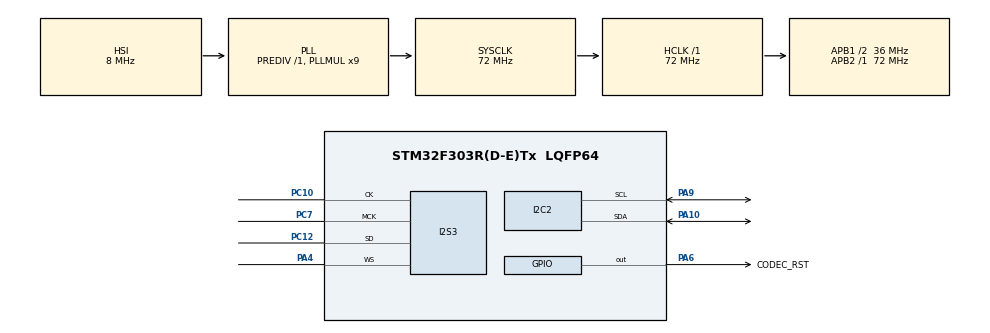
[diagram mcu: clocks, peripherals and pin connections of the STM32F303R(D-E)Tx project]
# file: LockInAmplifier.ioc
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Dma.Request0=SPI3_RX
Dma.SPI3_RX.0.Direction=DMA_PERIPH_TO_MEMORY
Dma.SPI3_RX.0.Instance=DMA2_Channel1
Dma.SPI3_RX.0.MemDataAlignment=DMA_MDATAALIGN_HALFWORD
Dma.SPI3_RX.0.MemInc=DMA_MINC_ENABLE
Dma.SPI3_RX.0.Mode=DMA_NORMAL
Dma.SPI3_RX.0.PeriphDataAlignment=DMA_PDATAALIGN_HALFWORD
Dma.SPI3_RX.0.PeriphInc=DMA_PINC_DISABLE
Dma.SPI3_RX.0.Priority=DMA_PRIORITY_LOW
I2S3.DataFormat=I2S_DATAFORMAT_16B_EXTENDED
I2S3.ErrorAudioFreq=0.43 %
I2S3.FullDuplexMode=I2S_FULLDUPLEXMODE_DISABLE
I2S3.Instance=SPI$Index
I2S3.MCLKOutput=I2S_MCLKOUTPUT_ENABLE
I2S3.Mode=I2S_MODE_MASTER_RX
I2S3.RealAudioFreq=8.035 KHz
I2S3.VirtualMode=I2S_MODE_MASTER
Mcu.Family=STM32F3
Mcu.Name=STM32F303R(D-E)Tx
Mcu.Package=LQFP64
NVIC.DMA2_Channel1_IRQn=true\:0\:0\:false\:false\:true\:false\:true\:true
NVIC.I2C2_ER_IRQn=true\:0\:0\:false\:false\:true\:true\:true\:true
NVIC.PriorityGroup=NVIC_PRIORITYGROUP_0
PA10.Mode=I2C
PA10.Signal=I2C2_SDA
PA13.Mode=Serial_Wire
PA13.Signal=SYS_JTMS-SWDIO
PA14.Mode=Serial_Wire
PA14.Signal=SYS_JTCK-SWCLK
PA4.Mode=Half_Duplex_Master
PA4.Signal=I2S3_WS
PA6.GPIO_Label=CODEC_RST
PA6.Signal=GPIO_Output
PA9.Mode=I2C
PA9.Signal=I2C2_SCL
PC10.Mode=Half_Duplex_Master
PC10.Signal=I2S3_CK
PC12.Mode=Half_Duplex_Master
PC12.Signal=I2S3_SD
PC7.Mode=Master_Clock_Activated
PC7.Signal=I2S3_MCK
PF0-OSC_IN.Mode=HSE-External-Oscillator
PF0-OSC_IN.Signal=RCC_OSC_IN
PF1-OSC_OUT.Mode=HSE-External-Oscillator
PF1-OSC_OUT.Signal=RCC_OSC_OUT
ProjectManager.HeapSize=0x200
ProjectManager.StackSize=0x400
ProjectManager.TargetToolchain=STM32CubeIDE
RCC.AHBFreq_Value=72000000
RCC.APB1CLKDivider=RCC_HCLK_DIV2
RCC.APB1Freq_Value=36000000
RCC.APB1TimFreq_Value=72000000
RCC.APB2Freq_Value=72000000
RCC.APB2TimFreq_Value=72000000
RCC.CortexFreq_Value=72000000
RCC.HCLKFreq_Value=72000000
RCC.HSE_VALUE=8000000
RCC.HSI_VALUE=8000000
RCC.LSE_VALUE=32768
RCC.PLLM=8
RCC.PLLMUL=RCC_PLL_MUL9
RCC.PLLN=336
RCC.PLLP=RCC_PLLP_DIV4
RCC.PLLQ=7
RCC.RCC_PLLsource_Clock_Source_FROM_HSE=RCC_HSE_PREDIV_DIV2
RCC.SYSCLKFreq_VALUE=72000000
RCC.SYSCLKSourceVirtual=RCC_SYSCLKSOURCE_PLLCLK
RCC.USBFreq_Value=72000000
STMicroelectronics.X-CUBE-ALGOBUILD.1.3.0.LibraryCcDSPOoLibraryJjDSPOoLibrary=true
VP_STMicroelectronics.X-CUBE-ALGOBUILD_VS_DSPOoLibraryJjLibrary_1.3.0_1.3.0.Mode=DSPOoLibraryJjLibrary
board=NUCLEO-F303RE

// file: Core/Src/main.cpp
/* USER CODE BEGIN Header */
/**
  ******************************************************************************
  * @file           : main.c
  * @brief          : Main program body
  ******************************************************************************
  * @attention
  *
  * Copyright (c) 2024 STMicroelectronics.
  * All rights reserved.
  *
  * This software is licensed under terms that can be found in the LICENSE file
  * in the root directory of this software component.
  * If no LICENSE file comes with this software, it is provided AS-IS.
  *
  ******************************************************************************
  */
/* USER CODE END Header */
#include "main.h"

/* USER CODE BEGIN Includes */
#include "CS42448.hpp"
#include "arm_math.h"
using namespace Codec_Controller;
/* USER CODE END Includes */

/* USER CODE BEGIN PD */
#define BUFFER_SIZE 1024
#define BLOCK_SIZE 156
#define NUM_TAPS 156

/* USER CODE END PD */

/* USER CODE BEGIN PM */
Codec_Typedef cs42448;

/* USER CODE END PM */

I2C_HandleTypeDef hi2c2;

I2S_HandleTypeDef hi2s3;
DMA_HandleTypeDef hdma_spi3_rx;

/* USER CODE BEGIN PV */
void MX_CODEC_Init(void){
	cs42448.CHIP_ADDRESS = 0x90;
	cs42448.i2c_port = hi2c2;
	cs42448.Timeout = 500;
	cs42448.Trials = 3;
	cs42448.Codec_Reset_Pin = CODEC_RST_Pin;
	cs42448.Codec_Reset_Pin_Port = CODEC_RST_GPIO_Port;

}
/* USER CODE END PV */

void SystemClock_Config(void);
static void MX_GPIO_Init(void);
static void MX_DMA_Init(void);
static void MX_I2C2_Init(void);
static void MX_I2S3_Init(void);
/* USER CODE BEGIN PFP */
static volatile int16_t codec_buffer[BUFFER_SIZE];
static volatile int16_t codec_buffer_r[BUFFER_SIZE/2];
static volatile int16_t codec_buffer_l[BUFFER_SIZE/2];
static volatile int16_t filter_out_buffer_r[BUFFER_SIZE];
static volatile int16_t filter_out_buffer_l[BUFFER_SIZE];
float32_t filter_in[BUFFER_SIZE];
float32_t filter_out[BUFFER_SIZE];
float32_t *filter_in_ptr = &filter_in[0];
float32_t *filter_out_ptr = &filter_out[0];
float32_t filter_in_2[BUFFER_SIZE];
float32_t filter_out_2[BUFFER_SIZE];
float32_t *filter_in_ptr_2 = &filter_in_2[0];
float32_t *filter_out_ptr_2 = &filter_out_2[0];
__HAL_RCC_FMC_CLK_ENABLE();
FMAC_

static float32_t fir_state[BLOCK_SIZE+NUM_TAPS-1];
const float32_t fir_coeffs[NUM_TAPS] = {
		  0.005172297278269435,
		  0.000691085441073851,
		  0.0007364934661995266,
		  0.0007833330616343696,
		  0.0008314309095881036,
		  0.0008808637704817325,
		  0.0009316054923466316,
		  0.0009836740399602583,
		  0.0010363242611205886,
		  0.0010915080786413332,
		  0.001146186788449287,
		  0.001202676511894471,
		  0.001260670295338245,
		  0.0013191856575960022,
		  0.0013783759848459713,
		  0.0014386953268898611,
		  0.001500174140205052,
		  0.0015623618017705772,
		  0.0016257098567251918,
		  0.0016895218967297539,
		  0.0017540993381709555,
		  0.001819696844582189,
		  0.0018859449512150937,
		  0.0019527127722429394,
		  0.0020201734194449364,
		  0.0020880287178480336,
		  0.002156021361230318,
		  0.0022244012480791006,
		  0.002292908551085153,
		  0.0023613631437434503,
		  0.0024300616718126934,
		  0.00249898064675117,
		  0.0025677443003562536,
		  0.0026367716407843375,
		  0.0027056680356674625,
		  0.002774438396436514,
		  0.0028432981460767624,
		  0.0029119651334827625,
		  0.002979608620910208,
		  0.0030462601965383727,
		  0.00311250553991895,
		  0.0031767976858819375,
		  0.003240818829501474,
		  0.0033044573035579117,
		  0.0033683652561028025,
		  0.003432511201503763,
		  0.003495411788126375,
		  0.003553584320643537,
		  0.0036052604649049577,
		  0.003671888205717174,
		  0.003724257235436093,
		  0.003779411123785605,
		  0.0038327290395655106,
		  0.003884417269345659,
		  0.003934482762558805,
		  0.0039828991347179805,
		  0.004030229139848226,
		  0.004073568994229324,
		  0.004119066886621473,
		  0.004159523352986089,
		  0.004198087205446811,
		  0.004235939370221528,
		  0.0042720361991397705,
		  0.004305569187191348,
		  0.004336534659601636,
		  0.004365447845882646,
		  0.004391866401525129,
		  0.004416855667835182,
		  0.004439469669356571,
		  0.004459605013668342,
		  0.004477598472958103,
		  0.004493190222417955,
		  0.004506177981610728,
		  0.004516867360583609,
		  0.004525397400883775,
		  0.004531380572232312,
		  0.004535116440140057,
		  0.004536449693795746,
		  0.004535116440140057,
		  0.004531380572232312,
		  0.004525397400883775,
		  0.004516867360583609,
		  0.004506177981610728,
		  0.004493190222417955,
		  0.004477598472958103,
		  0.004459605013668342,
		  0.004439469669356571,
		  0.004416855667835182,
		  0.004391866401525129,
		  0.004365447845882646,
		  0.004336534659601636,
		  0.004305569187191348,
		  0.0042720361991397705,
		  0.004235939370221528,
		  0.004198087205446811,
		  0.004159523352986089,
		  0.004119066886621473,
		  0.004073568994229324,
		  0.004030229139848226,
		  0.0039828991347179805,
		  0.003934482762558805,
		  0.003884417269345659,
		  0.0038327290395655106,
		  0.003779411123785605,
		  0.003724257235436093,
		  0.003671888205717174,
		  0.0036052604649049577,
		  0.003553584320643537,
		  0.003495411788126375,
		  0.003432511201503763,
		  0.0033683652561028025,
		  0.0033044573035579117,
		  0.003240818829501474,
		  0.0031767976858819375,
		  0.00311250553991895,
		  0.0030462601965383727,
		  0.002979608620910208,
		  0.0029119651334827625,
		  0.0028432981460767624,
		  0.002774438396436514,
		  0.0027056680356674625,
		  0.0026367716407843375,
		  0.0025677443003562536,
		  0.00249898064675117,
		  0.0024300616718126934,
		  0.0023613631437434503,
		  0.002292908551085153,
		  0.0022244012480791006,
		  0.002156021361230318,
		  0.0020880287178480336,
		  0.0020201734194449364,
		  0.0019527127722429394,
		  0.0018859449512150937,
		  0.001819696844582189,
		  0.0017540993381709555,
		  0.0016895218967297539,
		  0.0016257098567251918,
		  0.0015623618017705772,
		  0.001500174140205052,
		  0.0014386953268898611,
		  0.0013783759848459713,
		  0.0013191856575960022,
		  0.001260670295338245,
		  0.001202676511894471,
		  0.001146186788449287,
		  0.0010915080786413332,
		  0.0010363242611205886,
		  0.0009836740399602583,
		  0.0009316054923466316,
		  0.0008808637704817325,
		  0.0008314309095881036,
		  0.0007833330616343696,
		  0.0007364934661995266,
		  0.000691085441073851,
		  0.005172297278269435
};
uint32_t block_size = BLOCK_SIZE;
uint32_t num_blocks = BUFFER_SIZE / BLOCK_SIZE;
arm_fir_instance_f32 lpf;
unsigned long t1;
unsigned long t2;
unsigned long diff;
/* USER CODE END PFP */

int main(void)
{

  /* MCU Configuration--------------------------------------------------------*/

  /* Reset of all peripherals, Initializes the Flash interface and the Systick. */
  HAL_Init();

  /* Configure the system clock */
  SystemClock_Config();

  /* USER CODE BEGIN SysInit */

	CoreDebug->DEMCR |= CoreDebug_DEMCR_TRCENA_Msk;
	DWT->CYCCNT = 0;
	DWT->CTRL |= DWT_CTRL_CYCCNTENA_Msk;

  /* USER CODE END SysInit */

  /* Initialize all configured peripherals */
  MX_GPIO_Init();
  MX_DMA_Init();
  MX_I2C2_Init();
  MX_I2S3_Init();
  /* USER CODE BEGIN 2 */
  MX_CODEC_Init();
  arm_fir_init_f32(&lpf, NUM_TAPS, (float32_t *)&fir_coeffs[0], &fir_state[0], block_size);

  PowerDownEnable(&cs42448);
  Codec_IsReady(&cs42448);
  SetI2SInterface(&cs42448);
  HandleRegisters(&cs42448,0x04);// Check I2S Interface
  SetADCMode(&cs42448);
  HandleRegisters(&cs42448,0x05);// Check ADC Mode
  PowerDownDisable(&cs42448);
  HAL_I2S_Receive_DMA(&hi2s3, (uint16_t *)codec_buffer, BUFFER_SIZE);

/* USER CODE END 2 */

  /* Infinite loop */
  while (1)
  {

  }
}

void SystemClock_Config(void)
{
  RCC_OscInitTypeDef RCC_OscInitStruct = {0};
  RCC_ClkInitTypeDef RCC_ClkInitStruct = {0};
  RCC_PeriphCLKInitTypeDef PeriphClkInit = {0};

  /** Initializes the RCC Oscillators according to the specified parameters
  * in the RCC_OscInitTypeDef structure.
  */
  RCC_OscInitStruct.OscillatorType = RCC_OSCILLATORTYPE_HSI;
  RCC_OscInitStruct.HSIState = RCC_HSI_ON;
  RCC_OscInitStruct.HSICalibrationValue = RCC_HSICALIBRATION_DEFAULT;
  RCC_OscInitStruct.PLL.PLLState = RCC_PLL_ON;
  RCC_OscInitStruct.PLL.PLLSource = RCC_PLLSOURCE_HSI;
  RCC_OscInitStruct.PLL.PLLMUL = RCC_PLL_MUL9;
  RCC_OscInitStruct.PLL.PREDIV = RCC_PREDIV_DIV1;
  if (HAL_RCC_OscConfig(&RCC_OscInitStruct) != HAL_OK)
  {
    Error_Handler();
  }

  /** Initializes the CPU, AHB and APB buses clocks
  */
  RCC_ClkInitStruct.ClockType = RCC_CLOCKTYPE_HCLK|RCC_CLOCKTYPE_SYSCLK
                              |RCC_CLOCKTYPE_PCLK1|RCC_CLOCKTYPE_PCLK2;
  RCC_ClkInitStruct.SYSCLKSource = RCC_SYSCLKSOURCE_PLLCLK;
  RCC_ClkInitStruct.AHBCLKDivider = RCC_SYSCLK_DIV1;
  RCC_ClkInitStruct.APB1CLKDivider = RCC_HCLK_DIV2;
  RCC_ClkInitStruct.APB2CLKDivider = RCC_HCLK_DIV1;

  if (HAL_RCC_ClockConfig(&RCC_ClkInitStruct, FLASH_LATENCY_2) != HAL_OK)
  {
    Error_Handler();
  }
  PeriphClkInit.PeriphClockSelection = RCC_PERIPHCLK_I2S|RCC_PERIPHCLK_I2C2;
  PeriphClkInit.I2sClockSelection = RCC_I2SCLKSOURCE_SYSCLK;
  PeriphClkInit.I2c2ClockSelection = RCC_I2C2CLKSOURCE_HSI;
  if (HAL_RCCEx_PeriphCLKConfig(&PeriphClkInit) != HAL_OK)
  {
    Error_Handler();
  }
}

static void MX_I2C2_Init(void)
{

  hi2c2.Instance = I2C2;
  hi2c2.Init.Timing = 0x2000090E;
  hi2c2.Init.OwnAddress1 = 0;
  hi2c2.Init.AddressingMode = I2C_ADDRESSINGMODE_7BIT;
  hi2c2.Init.DualAddressMode = I2C_DUALADDRESS_DISABLE;
  hi2c2.Init.OwnAddress2 = 0;
  hi2c2.Init.OwnAddress2Masks = I2C_OA2_NOMASK;
  hi2c2.Init.GeneralCallMode = I2C_GENERALCALL_DISABLE;
  hi2c2.Init.NoStretchMode = I2C_NOSTRETCH_DISABLE;
  if (HAL_I2C_Init(&hi2c2) != HAL_OK)
  {
    Error_Handler();
  }

  /** Configure Analogue filter
  */
  if (HAL_I2CEx_ConfigAnalogFilter(&hi2c2, I2C_ANALOGFILTER_ENABLE) != HAL_OK)
  {
    Error_Handler();
  }

  /** Configure Digital filter
  */
  if (HAL_I2CEx_ConfigDigitalFilter(&hi2c2, 0) != HAL_OK)
  {
    Error_Handler();
  }

}

static void MX_I2S3_Init(void)
{

  hi2s3.Instance = SPI3;
  hi2s3.Init.Mode = I2S_MODE_MASTER_RX;
  hi2s3.Init.Standard = I2S_STANDARD_PHILIPS;
  hi2s3.Init.DataFormat = I2S_DATAFORMAT_16B_EXTENDED;
  hi2s3.Init.MCLKOutput = I2S_MCLKOUTPUT_ENABLE;
  hi2s3.Init.AudioFreq = I2S_AUDIOFREQ_8K;
  hi2s3.Init.CPOL = I2S_CPOL_LOW;
  hi2s3.Init.ClockSource = I2S_CLOCK_SYSCLK;
  hi2s3.Init.FullDuplexMode = I2S_FULLDUPLEXMODE_DISABLE;
  if (HAL_I2S_Init(&hi2s3) != HAL_OK)
  {
    Error_Handler();
  }

}

static void MX_DMA_Init(void)
{

  /* DMA controller clock enable */
  __HAL_RCC_DMA2_CLK_ENABLE();

  /* DMA interrupt init */
  /* DMA2_Channel1_IRQn interrupt configuration */
  HAL_NVIC_SetPriority(DMA2_Channel1_IRQn, 0, 0);
  HAL_NVIC_EnableIRQ(DMA2_Channel1_IRQn);

}

static void MX_GPIO_Init(void)
{
  GPIO_InitTypeDef GPIO_InitStruct = {0};

  /* GPIO Ports Clock Enable */
  __HAL_RCC_GPIOF_CLK_ENABLE();
  __HAL_RCC_GPIOA_CLK_ENABLE();
  __HAL_RCC_GPIOC_CLK_ENABLE();

  /*Configure GPIO pin Output Level */
  HAL_GPIO_WritePin(CODEC_RST_GPIO_Port, CODEC_RST_Pin, GPIO_PIN_RESET);

  /*Configure GPIO pin : CODEC_RST_Pin */
  GPIO_InitStruct.Pin = CODEC_RST_Pin;
  GPIO_InitStruct.Mode = GPIO_MODE_OUTPUT_PP;
  GPIO_InitStruct.Pull = GPIO_NOPULL;
  GPIO_InitStruct.Speed = GPIO_SPEED_FREQ_LOW;
  HAL_GPIO_Init(CODEC_RST_GPIO_Port, &GPIO_InitStruct);

}

/* USER CODE BEGIN 4 */

void HAL_I2S_RxCpltCallback(I2S_HandleTypeDef *hi2s){

	for(int i=0;i<BUFFER_SIZE;i++){
		filter_in[i] = codec_buffer[i];
		if(i % 2 == 0){
			codec_buffer_r[i/2] = codec_buffer[i];

		}
		else{
			codec_buffer_l[i/2] = codec_buffer[i];
		}

	}
	t1 = DWT->CYCCNT;
	for(int i =0;i<num_blocks;i++){
		arm_fir_f32(&lpf,filter_in_ptr+(i*block_size), filter_out_ptr+(i*block_size),block_size);
	}
	t2 = DWT->CYCCNT;
	diff = t2 - t1;
	for(int i=0;i<BUFFER_SIZE;i++){
		filter_in_2[i] = filter_in[i];

	}
	for(int i =0;i<num_blocks;i++){
		arm_fir_f32(&lpf,filter_in_ptr_2+(i*block_size), filter_out_ptr_2+(i*block_size),block_size);
	}

	HAL_I2S_Receive_DMA(&hi2s3, (uint16_t *)codec_buffer, BUFFER_SIZE);

}
/* USER CODE END 4 */

void Error_Handler(void)
{
  __disable_irq();
  while (1)
  {
  }
}
